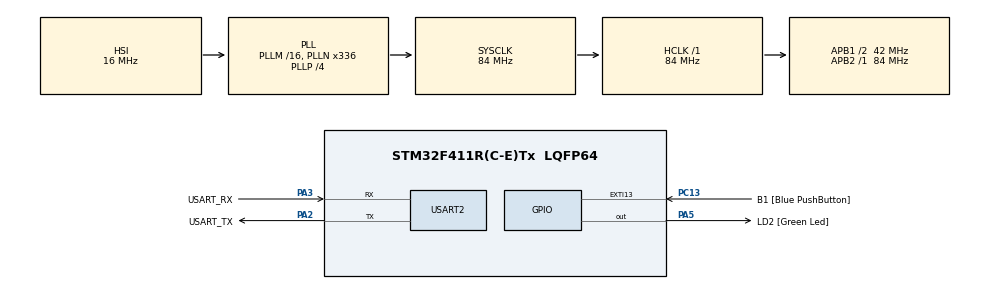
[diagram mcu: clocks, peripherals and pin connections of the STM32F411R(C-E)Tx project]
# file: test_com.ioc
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ARM.CMSIS.5.6.0.CMSISJjCORE=true
ARM.CMSIS.5.6.0.CMSISJjDSP=Library
Mcu.Family=STM32F4
Mcu.Name=STM32F411R(C-E)Tx
Mcu.Package=LQFP64
NVIC.PriorityGroup=NVIC_PRIORITYGROUP_0
PA13.GPIO_Label=TMS
PA13.Mode=Trace_Asynchronous_SW
PA13.Signal=SYS_JTMS-SWDIO
PA14.GPIO_Label=TCK
PA14.Mode=Trace_Asynchronous_SW
PA14.Signal=SYS_JTCK-SWCLK
PA2.GPIO_Label=USART_TX
PA2.Mode=Asynchronous
PA2.Signal=USART2_TX
PA3.GPIO_Label=USART_RX
PA3.Mode=Asynchronous
PA3.Signal=USART2_RX
PA5.GPIO_Label=LD2 [Green Led]
PA5.Signal=GPIO_Output
PB3.GPIO_Label=SWO
PB3.Mode=Trace_Asynchronous_SW
PB3.Signal=SYS_JTDO-SWO
PC13-ANTI_TAMP.GPIO_Label=B1 [Blue PushButton]
PC13-ANTI_TAMP.GPIO_ModeDefaultEXTI=GPIO_MODE_IT_FALLING
PC13-ANTI_TAMP.Signal=GPXTI13
PC14-OSC32_IN.Mode=LSE-External-Oscillator
PC14-OSC32_IN.Signal=RCC_OSC32_IN
PC15-OSC32_OUT.Mode=LSE-External-Oscillator
PC15-OSC32_OUT.Signal=RCC_OSC32_OUT
PH0\ -\ OSC_IN.Mode=HSE-External-Clock-Source
PH0\ -\ OSC_IN.Signal=RCC_OSC_IN
PH1\ -\ OSC_OUT.Mode=HSE-External-Clock-Source
PH1\ -\ OSC_OUT.Signal=RCC_OSC_OUT
ProjectManager.HeapSize=0x200
ProjectManager.StackSize=0x400
ProjectManager.TargetToolchain=STM32CubeIDE
RCC.48MHZClocksFreq_Value=84000000
RCC.AHBFreq_Value=84000000
RCC.APB1CLKDivider=RCC_HCLK_DIV2
RCC.APB1Freq_Value=42000000
RCC.APB1TimFreq_Value=84000000
RCC.APB2Freq_Value=84000000
RCC.APB2TimFreq_Value=84000000
RCC.CortexFreq_Value=84000000
RCC.FLatency-AdvancedSettings=FLASH_LATENCY_2
RCC.HCLKFreq_Value=84000000
RCC.HSE_VALUE=8000000
RCC.HSI_VALUE=16000000
RCC.PLLN=336
RCC.PLLP=RCC_PLLP_DIV4
RCC.SYSCLKFreq_VALUE=84000000
RCC.SYSCLKSource=RCC_SYSCLKSOURCE_PLLCLK
RCC.VCOOutputFreq_Value=336000000
TIM1.Prescaler=83
USART2.VirtualMode=VM_ASYNC
VP_ARM.CMSIS_VS_CMSISJjCORE_5.3.0_5.6.0.Mode=CMSISJjCORE
VP_ARM.CMSIS_VS_CMSISJjDSP_1.7.0_5.6.0.Mode=CMSISJjDSP
VP_TIM1_VS_ClockSourceINT.Mode=Internal
board=NUCLEO-F411RE

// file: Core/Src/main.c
/* USER CODE BEGIN Header */
/**
  ******************************************************************************
  * @file           : main.c
  * @brief          : Main program body
  ******************************************************************************
  * @attention
  *
  * Copyright (c) 2023 STMicroelectronics.
  * All rights reserved.
  *
  * This software is licensed under terms that can be found in the LICENSE file
  * in the root directory of this software component.
  * If no LICENSE file comes with this software, it is provided AS-IS.
  *
  ******************************************************************************
  */
/* USER CODE END Header */
#include "main.h"

/* USER CODE BEGIN Includes */
#include "arm_math.h"
/* USER CODE END Includes */

TIM_HandleTypeDef htim1;

UART_HandleTypeDef huart2;

/* USER CODE BEGIN PV */
arm_pid_instance_f32 PID = {0};
float position =0;
float setposition =0;
float Vfeedback =0;
/* USER CODE END PV */

void SystemClock_Config(void);
static void MX_GPIO_Init(void);
static void MX_USART2_UART_Init(void);
static void MX_TIM1_Init(void);
/* USER CODE BEGIN PFP */
float PlantSimulaton(float VIn);
/* USER CODE END PFP */

int main(void)
{

  /* MCU Configuration--------------------------------------------------------*/

  /* Reset of all peripherals, Initializes the Flash interface and the Systick. */
  HAL_Init();

  /* Configure the system clock */
  SystemClock_Config();

  /* Initialize all configured peripherals */
  MX_GPIO_Init();
  MX_USART2_UART_Init();
  MX_TIM1_Init();
  /* USER CODE BEGIN 2 */
PID.Kp = 0.1;
PID.Ki =0.00001;
PID.Kd = 0.1;
arm_pid_init_f32(&PID,0);
  /* USER CODE END 2 */

  /* Infinite loop */
  /* USER CODE BEGIN WHILE */
  while (1)
  {
	  static uint32_t timestamp = 0;
	  if(timestamp<HAL_GetTick())
	  {
		  timestamp=HAL_GetTick()+10;
		  Vfeedback = arm_pid_f32(&PID, setposition-position);
		  position = PlantSimulaton(Vfeedback);
	  }
    /* USER CODE END WHILE */

  }
}

void SystemClock_Config(void)
{
  RCC_OscInitTypeDef RCC_OscInitStruct = {0};
  RCC_ClkInitTypeDef RCC_ClkInitStruct = {0};

  /** Configure the main internal regulator output voltage
  */
  __HAL_RCC_PWR_CLK_ENABLE();
  __HAL_PWR_VOLTAGESCALING_CONFIG(PWR_REGULATOR_VOLTAGE_SCALE1);

  /** Initializes the RCC Oscillators according to the specified parameters
  * in the RCC_OscInitTypeDef structure.
  */
  RCC_OscInitStruct.OscillatorType = RCC_OSCILLATORTYPE_HSI;
  RCC_OscInitStruct.HSIState = RCC_HSI_ON;
  RCC_OscInitStruct.HSICalibrationValue = RCC_HSICALIBRATION_DEFAULT;
  RCC_OscInitStruct.PLL.PLLState = RCC_PLL_ON;
  RCC_OscInitStruct.PLL.PLLSource = RCC_PLLSOURCE_HSI;
  RCC_OscInitStruct.PLL.PLLM = 16;
  RCC_OscInitStruct.PLL.PLLN = 336;
  RCC_OscInitStruct.PLL.PLLP = RCC_PLLP_DIV4;
  RCC_OscInitStruct.PLL.PLLQ = 4;
  if (HAL_RCC_OscConfig(&RCC_OscInitStruct) != HAL_OK)
  {
    Error_Handler();
  }

  /** Initializes the CPU, AHB and APB buses clocks
  */
  RCC_ClkInitStruct.ClockType = RCC_CLOCKTYPE_HCLK|RCC_CLOCKTYPE_SYSCLK
                              |RCC_CLOCKTYPE_PCLK1|RCC_CLOCKTYPE_PCLK2;
  RCC_ClkInitStruct.SYSCLKSource = RCC_SYSCLKSOURCE_PLLCLK;
  RCC_ClkInitStruct.AHBCLKDivider = RCC_SYSCLK_DIV1;
  RCC_ClkInitStruct.APB1CLKDivider = RCC_HCLK_DIV2;
  RCC_ClkInitStruct.APB2CLKDivider = RCC_HCLK_DIV1;

  if (HAL_RCC_ClockConfig(&RCC_ClkInitStruct, FLASH_LATENCY_2) != HAL_OK)
  {
    Error_Handler();
  }
}

static void MX_TIM1_Init(void)
{

  TIM_ClockConfigTypeDef sClockSourceConfig = {0};
  TIM_MasterConfigTypeDef sMasterConfig = {0};

  htim1.Instance = TIM1;
  htim1.Init.Prescaler = 83;
  htim1.Init.CounterMode = TIM_COUNTERMODE_UP;
  htim1.Init.Period = 65535;
  htim1.Init.ClockDivision = TIM_CLOCKDIVISION_DIV1;
  htim1.Init.RepetitionCounter = 0;
  htim1.Init.AutoReloadPreload = TIM_AUTORELOAD_PRELOAD_DISABLE;
  if (HAL_TIM_Base_Init(&htim1) != HAL_OK)
  {
    Error_Handler();
  }
  sClockSourceConfig.ClockSource = TIM_CLOCKSOURCE_INTERNAL;
  if (HAL_TIM_ConfigClockSource(&htim1, &sClockSourceConfig) != HAL_OK)
  {
    Error_Handler();
  }
  sMasterConfig.MasterOutputTrigger = TIM_TRGO_RESET;
  sMasterConfig.MasterSlaveMode = TIM_MASTERSLAVEMODE_DISABLE;
  if (HAL_TIMEx_MasterConfigSynchronization(&htim1, &sMasterConfig) != HAL_OK)
  {
    Error_Handler();
  }

}

static void MX_USART2_UART_Init(void)
{

  huart2.Instance = USART2;
  huart2.Init.BaudRate = 115200;
  huart2.Init.WordLength = UART_WORDLENGTH_8B;
  huart2.Init.StopBits = UART_STOPBITS_1;
  huart2.Init.Parity = UART_PARITY_NONE;
  huart2.Init.Mode = UART_MODE_TX_RX;
  huart2.Init.HwFlowCtl = UART_HWCONTROL_NONE;
  huart2.Init.OverSampling = UART_OVERSAMPLING_16;
  if (HAL_UART_Init(&huart2) != HAL_OK)
  {
    Error_Handler();
  }

}

static void MX_GPIO_Init(void)
{
  GPIO_InitTypeDef GPIO_InitStruct = {0};

  /* GPIO Ports Clock Enable */
  __HAL_RCC_GPIOC_CLK_ENABLE();
  __HAL_RCC_GPIOH_CLK_ENABLE();
  __HAL_RCC_GPIOA_CLK_ENABLE();
  __HAL_RCC_GPIOB_CLK_ENABLE();

  /*Configure GPIO pin Output Level */
  HAL_GPIO_WritePin(LD2_GPIO_Port, LD2_Pin, GPIO_PIN_RESET);

  /*Configure GPIO pin : B1_Pin */
  GPIO_InitStruct.Pin = B1_Pin;
  GPIO_InitStruct.Mode = GPIO_MODE_IT_FALLING;
  GPIO_InitStruct.Pull = GPIO_NOPULL;
  HAL_GPIO_Init(B1_GPIO_Port, &GPIO_InitStruct);

  /*Configure GPIO pin : LD2_Pin */
  GPIO_InitStruct.Pin = LD2_Pin;
  GPIO_InitStruct.Mode = GPIO_MODE_OUTPUT_PP;
  GPIO_InitStruct.Pull = GPIO_NOPULL;
  GPIO_InitStruct.Speed = GPIO_SPEED_FREQ_LOW;
  HAL_GPIO_Init(LD2_GPIO_Port, &GPIO_InitStruct);

}

/* USER CODE BEGIN 4 */
float PlantSimulaton(float VIn){
	static float speed = 0;
	static float position = 0;
	float current = VIn-speed *0.0123;
	float torque = current*0.456;
	float acc = torque*0.789;
	speed+=acc;
	position += speed;
	return position;
}
/* USER CODE END 4 */

void Error_Handler(void)
{
  __disable_irq();
  while (1)
  {
  }
}
